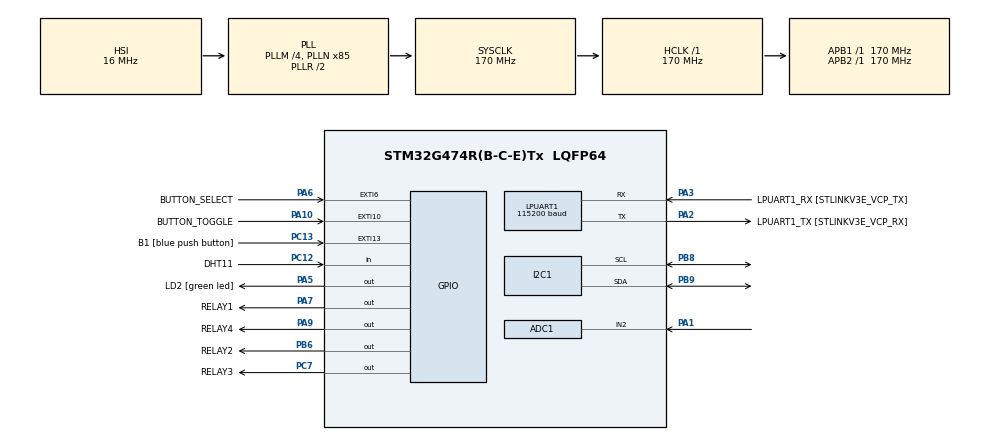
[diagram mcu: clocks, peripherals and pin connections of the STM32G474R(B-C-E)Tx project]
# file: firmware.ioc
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ADC1.Channel-1\#ChannelRegularConversion=ADC_CHANNEL_2
ADC1.NbrOfConversionFlag=1
ADC1.OffsetNumber-1\#ChannelRegularConversion=ADC_OFFSET_NONE
ADC1.Rank-1\#ChannelRegularConversion=1
ADC1.SamplingTime-1\#ChannelRegularConversion=ADC_SAMPLETIME_2CYCLES_5
ADC1.master=1
FREERTOS.Mutexes01=mutexLogData,Static,mutexLogDataControlBlock;mutexFLASH,Static,mutexFLASHControlBlock
FREERTOS.Queues01=queueReturnUART,16,uint8_t,0,Dynamic,NULL,NULL;queueConfigureWateringCommand,5,uint16_t,0,Dynamic,NULL,NULL;queueConfigureWateringControl,5,uint16_t,0,Dynamic,NULL,NULL
FREERTOS.Tasks01=transmitUART,32,256,transmitUARTTask,Default,NULL,Dynamic,NULL,NULL;updateDisplay,8,512,updateDisplayTask,Default,NULL,Dynamic,NULL,NULL;readSensorsRTC,40,128,readSensorsRTCTask,Default,NULL,Dynamic,NULL,NULL;controlWatering,24,256,controlWateringTask,Default,NULL,Dynamic,NULL,NULL;updateLog,24,128,updateLogTask,Default,NULL,Dynamic,NULL,NULL;cfgWatering,8,128,cfgWateringTask,Default,NULL,Dynamic,NULL,NULL
FREERTOS.configENABLE_FPU=1
FREERTOS.configTOTAL_HEAP_SIZE=16384
FREERTOS.configUSE_NEWLIB_REENTRANT=1
I2C1.Timing=0x30A0A7FB
LPUART1.BaudRate=115200
LPUART1.WordLength=UART_WORDLENGTH_8B
Mcu.Family=STM32G4
Mcu.Name=STM32G474R(B-C-E)Tx
Mcu.Package=LQFP64
NVIC.EXTI15_10_IRQn=true\:5\:0\:false\:false\:true\:true\:true\:true\:true
NVIC.EXTI9_5_IRQn=true\:5\:0\:false\:false\:true\:true\:true\:true\:true
NVIC.PriorityGroup=NVIC_PRIORITYGROUP_4
NVIC.TIM6_DAC_IRQn=true\:15\:0\:false\:false\:true\:false\:false\:true\:true
NVIC.TimeBase=TIM6_DAC_IRQn
NVIC.TimeBaseIP=TIM6
PA1.Mode=IN2-Single-Ended
PA1.Signal=ADC1_IN2
PA10.GPIO_Label=BUTTON_TOGGLE
PA10.Signal=GPXTI10
PA13.GPIO_Label=T_SWDIO
PA13.Mode=Serial_Wire
PA13.Signal=SYS_JTMS-SWDIO
PA14.GPIO_Label=T_SWCLK
PA14.Mode=Serial_Wire
PA14.Signal=SYS_JTCK-SWCLK
PA2.GPIO_Label=LPUART1_TX [STLINKV3E_VCP_RX]
PA2.Mode=Asynchronous
PA2.Signal=LPUART1_TX
PA3.GPIO_Label=LPUART1_RX [STLINKV3E_VCP_TX]
PA3.Mode=Asynchronous
PA3.Signal=LPUART1_RX
PA5.GPIO_Label=LD2 [green led]
PA5.Signal=GPIO_Output
PA6.GPIO_Label=BUTTON_SELECT
PA6.Signal=GPXTI6
PA7.GPIO_Label=RELAY1
PA7.Signal=GPIO_Output
PA9.GPIO_Label=RELAY4
PA9.Signal=GPIO_Output
PB3.GPIO_Label=T_SWO
PB3.Signal=SYS_JTDO-SWO
PB6.GPIO_Label=RELAY2
PB6.Signal=GPIO_Output
PB8-BOOT0.Mode=I2C
PB8-BOOT0.Signal=I2C1_SCL
PB9.Mode=I2C
PB9.Signal=I2C1_SDA
PC12.GPIO_Label=DHT11
PC12.Signal=GPIO_Input
PC13.GPIO_Label=B1 [blue push button]
PC13.Signal=GPXTI13
PC14-OSC32_IN.Mode=LSE-External-Oscillator
PC14-OSC32_IN.Signal=RCC_OSC32_IN
PC15-OSC32_OUT.Mode=LSE-External-Oscillator
PC15-OSC32_OUT.Signal=RCC_OSC32_OUT
PC7.GPIO_Label=RELAY3
PC7.Signal=GPIO_Output
PF0-OSC_IN.Mode=HSE-External-Oscillator
PF0-OSC_IN.Signal=RCC_OSC_IN
PF1-OSC_OUT.Mode=HSE-External-Oscillator
PF1-OSC_OUT.Signal=RCC_OSC_OUT
ProjectManager.HeapSize=0x200
ProjectManager.StackSize=0x400
ProjectManager.TargetToolchain=STM32CubeIDE
RCC.ADC12Freq_Value=170000000
RCC.ADC345Freq_Value=170000000
RCC.AHBFreq_Value=170000000
RCC.APB1Freq_Value=170000000
RCC.APB1TimFreq_Value=170000000
RCC.APB2Freq_Value=170000000
RCC.APB2TimFreq_Value=170000000
RCC.CortexFreq_Value=170000000
RCC.EXTERNAL_CLOCK_VALUE=12288000
RCC.HCLKFreq_Value=170000000
RCC.HSE_VALUE=24000000
RCC.HSI48_VALUE=48000000
RCC.HSI_VALUE=16000000
RCC.PLLM=RCC_PLLM_DIV4
RCC.PLLN=85
RCC.RTCClockSelection=RCC_RTCCLKSOURCE_LSE
RCC.SYSCLKFreq_VALUE=170000000
RCC.SYSCLKSource=RCC_SYSCLKSOURCE_PLLCLK
RCC.USBFreq_Value=170000000
RCC.VCOOutputFreq_Value=340000000
RTC.Alarm-Alarm\ A=RTC_ALARM_A
RTC.AlarmMaskSeconds-Alarm\ A=RTC_ALARMMASK_SECONDS
RTC.AlarmMaskSeconds_B-Alarm\ B=RTC_ALARMMASK_SECONDS
RTC.Alarm_B-Alarm\ B=RTC_ALARM_B
RTC.Format=RTC_FORMAT_BIN
TIM7.Prescaler=169
VP_FREERTOS_VS_CMSIS_V2.Mode=CMSIS_V2
VP_RTC_VS_RTC_Activate.Mode=RTC_Enabled
VP_RTC_VS_RTC_Alarm_A_Intern.Mode=Alarm A
VP_RTC_VS_RTC_Alarm_B_Intern.Mode=Alarm B
VP_RTC_VS_RTC_Calendar.Mode=RTC_Calendar
VP_SYS_VS_DBSignals.Mode=DisableDeadBatterySignals
VP_SYS_VS_tim6.Mode=TIM6
VP_TIM7_VS_ClockSourceINT.Mode=Enable_Timer
board=NUCLEO-G474RE

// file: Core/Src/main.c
/* USER CODE BEGIN Header */
/**
  ******************************************************************************
  * @file           : main.c
  * @brief          : Main program body
  ******************************************************************************
  * @attention
  *
  * Copyright (c) 2024 STMicroelectronics.
  * All rights reserved.
  *
  * This software is licensed under terms that can be found in the LICENSE file
  * in the root directory of this software component.
  * If no LICENSE file comes with this software, it is provided AS-IS.
  *
  ******************************************************************************
  */
/* USER CODE END Header */
#include "main.h"
#include "cmsis_os.h"
#include "adc.h"
#include "i2c.h"
#include "usart.h"
#include "rtc.h"
#include "tim.h"
#include "gpio.h"

/* USER CODE BEGIN Includes */
#include "stdio.h"
#include "mk_dht11.h"
#include "ssd1306.h"
#include "ssd1306_fonts.h"
/* USER CODE END Includes */

void SystemClock_Config(void);
void MX_FREERTOS_Init(void);

int main(void)
{

  /* MCU Configuration--------------------------------------------------------*/

  /* Reset of all peripherals, Initializes the Flash interface and the Systick. */
  HAL_Init();

  /* Configure the system clock */
  SystemClock_Config();

  /* Initialize all configured peripherals */
  MX_GPIO_Init();
  MX_LPUART1_UART_Init();
  MX_ADC1_Init();
  MX_I2C1_Init();
  MX_RTC_Init();
  MX_TIM7_Init();
  /* USER CODE BEGIN 2 */
  HAL_GPIO_WritePin(RELAY1_GPIO_Port, RELAY1_Pin, GPIO_PIN_SET);
  HAL_GPIO_WritePin(RELAY2_GPIO_Port, RELAY2_Pin, GPIO_PIN_SET);
  HAL_GPIO_WritePin(RELAY3_GPIO_Port, RELAY3_Pin, GPIO_PIN_SET);
  HAL_GPIO_WritePin(RELAY4_GPIO_Port, RELAY4_Pin, GPIO_PIN_SET);
  /* USER CODE END 2 */

  /* Init scheduler */
  osKernelInitialize();

  /* Call init function for freertos objects (in freertos.c) */
  MX_FREERTOS_Init();

  /* Start scheduler */
  osKernelStart();

  /* We should never get here as control is now taken by the scheduler */
  /* Infinite loop */
  while (1)
  {

  }
}

void SystemClock_Config(void)
{
  RCC_OscInitTypeDef RCC_OscInitStruct = {0};
  RCC_ClkInitTypeDef RCC_ClkInitStruct = {0};

  /** Configure the main internal regulator output voltage
  */
  HAL_PWREx_ControlVoltageScaling(PWR_REGULATOR_VOLTAGE_SCALE1_BOOST);

  /** Configure LSE Drive Capability
  */
  HAL_PWR_EnableBkUpAccess();
  __HAL_RCC_LSEDRIVE_CONFIG(RCC_LSEDRIVE_LOW);

  /** Initializes the RCC Oscillators according to the specified parameters
  * in the RCC_OscInitTypeDef structure.
  */
  RCC_OscInitStruct.OscillatorType = RCC_OSCILLATORTYPE_HSI|RCC_OSCILLATORTYPE_LSE;
  RCC_OscInitStruct.LSEState = RCC_LSE_ON;
  RCC_OscInitStruct.HSIState = RCC_HSI_ON;
  RCC_OscInitStruct.HSICalibrationValue = RCC_HSICALIBRATION_DEFAULT;
  RCC_OscInitStruct.PLL.PLLState = RCC_PLL_ON;
  RCC_OscInitStruct.PLL.PLLSource = RCC_PLLSOURCE_HSI;
  RCC_OscInitStruct.PLL.PLLM = RCC_PLLM_DIV4;
  RCC_OscInitStruct.PLL.PLLN = 85;
  RCC_OscInitStruct.PLL.PLLP = RCC_PLLP_DIV2;
  RCC_OscInitStruct.PLL.PLLQ = RCC_PLLQ_DIV2;
  RCC_OscInitStruct.PLL.PLLR = RCC_PLLR_DIV2;
  if (HAL_RCC_OscConfig(&RCC_OscInitStruct) != HAL_OK)
  {
    Error_Handler();
  }

  /** Initializes the CPU, AHB and APB buses clocks
  */
  RCC_ClkInitStruct.ClockType = RCC_CLOCKTYPE_HCLK|RCC_CLOCKTYPE_SYSCLK
                              |RCC_CLOCKTYPE_PCLK1|RCC_CLOCKTYPE_PCLK2;
  RCC_ClkInitStruct.SYSCLKSource = RCC_SYSCLKSOURCE_PLLCLK;
  RCC_ClkInitStruct.AHBCLKDivider = RCC_SYSCLK_DIV1;
  RCC_ClkInitStruct.APB1CLKDivider = RCC_HCLK_DIV1;
  RCC_ClkInitStruct.APB2CLKDivider = RCC_HCLK_DIV1;

  if (HAL_RCC_ClockConfig(&RCC_ClkInitStruct, FLASH_LATENCY_4) != HAL_OK)
  {
    Error_Handler();
  }
}

void HAL_TIM_PeriodElapsedCallback(TIM_HandleTypeDef *htim)
{
  if (htim->Instance == TIM6) {
    HAL_IncTick();
  }
}

void Error_Handler(void)
{
  __disable_irq();
  while (1)
  {
  }
}

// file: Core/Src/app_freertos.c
/* USER CODE BEGIN Header */
/**
  ******************************************************************************
  * File Name          : app_freertos.c
  * Description        : Code for freertos applications
  ******************************************************************************
  * @attention
  *
  * Copyright (c) 2024 STMicroelectronics.
  * All rights reserved.
  *
  * This software is licensed under terms that can be found in the LICENSE file
  * in the root directory of this software component.
  * If no LICENSE file comes with this software, it is provided AS-IS.
  *
  ******************************************************************************
  */
/* USER CODE END Header */

#include "FreeRTOS.h"
#include "task.h"
#include "main.h"
#include "cmsis_os.h"

/* USER CODE BEGIN Includes */
#include "adc.h"
#include "mk_dht11.h"
#include "rtc.h"
#include "ssd1306.h"
#include "ssd1306_fonts.h"
#include "stdio.h"
#include "tim.h"
/* USER CODE END Includes */

typedef StaticSemaphore_t osStaticMutexDef_t;

/* USER CODE BEGIN Variables */
dht11_t dht11;
xLogData_t xLogData;

GPIO_TypeDef *xRelayPorts[5] =
  {LD2_GPIO_Port, RELAY1_GPIO_Port, RELAY2_GPIO_Port, RELAY3_GPIO_Port, RELAY4_GPIO_Port};
uint16_t uiRelayPins[5] = {LD2_Pin, RELAY1_Pin, RELAY2_Pin, RELAY3_Pin, RELAY4_Pin};

/* USER CODE END Variables */
/* Definitions for transmitUART */
osThreadId_t transmitUARTHandle;
const osThreadAttr_t transmitUART_attributes = {
  .name = "transmitUART",
  .priority = (osPriority_t) osPriorityAboveNormal,
  .stack_size = 256 * 4
};
/* Definitions for updateDisplay */
osThreadId_t updateDisplayHandle;
const osThreadAttr_t updateDisplay_attributes = {
  .name = "updateDisplay",
  .priority = (osPriority_t) osPriorityLow,
  .stack_size = 512 * 4
};
/* Definitions for readSensorsRTC */
osThreadId_t readSensorsRTCHandle;
const osThreadAttr_t readSensorsRTC_attributes = {
  .name = "readSensorsRTC",
  .priority = (osPriority_t) osPriorityHigh,
  .stack_size = 128 * 4
};
/* Definitions for controlWatering */
osThreadId_t controlWateringHandle;
const osThreadAttr_t controlWatering_attributes = {
  .name = "controlWatering",
  .priority = (osPriority_t) osPriorityNormal,
  .stack_size = 256 * 4
};
/* Definitions for updateLog */
osThreadId_t updateLogHandle;
const osThreadAttr_t updateLog_attributes = {
  .name = "updateLog",
  .priority = (osPriority_t) osPriorityNormal,
  .stack_size = 128 * 4
};
/* Definitions for cfgWatering */
osThreadId_t cfgWateringHandle;
const osThreadAttr_t cfgWatering_attributes = {
  .name = "cfgWatering",
  .priority = (osPriority_t) osPriorityLow,
  .stack_size = 128 * 4
};
/* Definitions for queueReturnUART */
osMessageQueueId_t queueReturnUARTHandle;
const osMessageQueueAttr_t queueReturnUART_attributes = {
  .name = "queueReturnUART"
};
/* Definitions for queueConfigureWateringCommand */
osMessageQueueId_t queueConfigureWateringCommandHandle;
const osMessageQueueAttr_t queueConfigureWateringCommand_attributes = {
  .name = "queueConfigureWateringCommand"
};
/* Definitions for queueConfigureWateringControl */
osMessageQueueId_t queueConfigureWateringControlHandle;
const osMessageQueueAttr_t queueConfigureWateringControl_attributes = {
  .name = "queueConfigureWateringControl"
};
/* Definitions for mutexLogData */
osMutexId_t mutexLogDataHandle;
osStaticMutexDef_t mutexLogDataControlBlock;
const osMutexAttr_t mutexLogData_attributes = {
  .name = "mutexLogData",
  .cb_mem = &mutexLogDataControlBlock,
  .cb_size = sizeof(mutexLogDataControlBlock),
};
/* Definitions for mutexFLASH */
osMutexId_t mutexFLASHHandle;
osStaticMutexDef_t mutexFLASHControlBlock;
const osMutexAttr_t mutexFLASH_attributes = {
  .name = "mutexFLASH",
  .cb_mem = &mutexFLASHControlBlock,
  .cb_size = sizeof(mutexFLASHControlBlock),
};

/* USER CODE BEGIN FunctionPrototypes */
void ssd1306_WriteTemp(uint8_t temp, uint8_t x, uint8_t y, SSD1306_COLOR color);
/* USER CODE END FunctionPrototypes */

void transmitUARTTask(void *argument);
void updateDisplayTask(void *argument);
void readSensorsRTCTask(void *argument);
void controlWateringTask(void *argument);
void updateLogTask(void *argument);
void cfgWateringTask(void *argument);

void MX_FREERTOS_Init(void); /* (MISRA C 2004 rule 8.1) */

void MX_FREERTOS_Init(void) {
  /* Create the mutex(es) */
  /* creation of mutexLogData */
  mutexLogDataHandle = osMutexNew(&mutexLogData_attributes);

  /* creation of mutexFLASH */
  mutexFLASHHandle = osMutexNew(&mutexFLASH_attributes);

  /* Create the queue(s) */
  /* creation of queueReturnUART */
  queueReturnUARTHandle = osMessageQueueNew (16, sizeof(uint8_t), &queueReturnUART_attributes);

  /* creation of queueConfigureWateringCommand */
  queueConfigureWateringCommandHandle = osMessageQueueNew (5, sizeof(uint16_t), &queueConfigureWateringCommand_attributes);

  /* creation of queueConfigureWateringControl */
  queueConfigureWateringControlHandle = osMessageQueueNew (5, sizeof(uint16_t), &queueConfigureWateringControl_attributes);

  /* Create the thread(s) */
  /* creation of transmitUART */
  transmitUARTHandle = osThreadNew(transmitUARTTask, NULL, &transmitUART_attributes);

  /* creation of updateDisplay */
  updateDisplayHandle = osThreadNew(updateDisplayTask, NULL, &updateDisplay_attributes);

  /* creation of readSensorsRTC */
  readSensorsRTCHandle = osThreadNew(readSensorsRTCTask, NULL, &readSensorsRTC_attributes);

  /* creation of controlWatering */
  controlWateringHandle = osThreadNew(controlWateringTask, NULL, &controlWatering_attributes);

  /* creation of updateLog */
  updateLogHandle = osThreadNew(updateLogTask, NULL, &updateLog_attributes);

  /* creation of cfgWatering */
  cfgWateringHandle = osThreadNew(cfgWateringTask, NULL, &cfgWatering_attributes);

}

void transmitUARTTask(void *argument)
{
  for(;;)
  {
    osDelay(1);
  }
}

void updateDisplayTask(void *argument)
{
  /* USER CODE BEGIN updateDisplayTask */
  char cDate[9], cTime[9], cHum[4], cSoil[4][4];
  uint8_t uiRelaySelected, uiRelayStatus;

  ssd1306_Init();
  ssd1306_FillRectangle(0, 0, 127, 15, White);

  ssd1306_SetCursor(0, 16);
  ssd1306_WriteString("CH1", Font_7x10, White);
  ssd1306_SetCursor(0, 27);
  ssd1306_WriteString("68%", Font_7x10, White);
  ssd1306_DrawRectangle( 23, 16, 34, 36, White);

  ssd1306_SetCursor(38, 16);
  ssd1306_WriteString("CH2", Font_7x10, White);
  ssd1306_SetCursor(38, 27);
  ssd1306_WriteString("52%", Font_7x10, White);
  ssd1306_DrawRectangle( 61, 16, 72, 36, White);

  ssd1306_SetCursor(0, 41);
  ssd1306_WriteString("CH3", Font_7x10, White);
  ssd1306_SetCursor(0, 52);
  ssd1306_WriteString("00%", Font_7x10, White);
  ssd1306_DrawRectangle( 23, 41, 34, 61, White);

  ssd1306_SetCursor(38, 41);
  ssd1306_WriteString("CH4", Font_7x10, White);
  ssd1306_SetCursor(38, 52);
  ssd1306_WriteString("99%", Font_7x10, White);
  ssd1306_DrawRectangle( 61, 41, 72, 61, White);

  ssd1306_SetCursor(74, 16);
  ssd1306_WriteString(" Ambient ", Font_6x8, Black);

  ssd1306_UpdateScreen();
  /* Infinite loop */
  for(;;)
  {
    osDelay(1000);
    if(osMutexAcquire(mutexLogDataHandle, osWaitForever) == osOK)
    {
    	sprintf(cDate, "%02d/%02d/%02d", xLogData.s.day, xLogData.s.month, xLogData.s.year);
    	sprintf(cTime, "%02d:%02d:%02d", xLogData.s.hour, xLogData.s.minute, xLogData.s.second);

    	sprintf(cHum, "%d%%", xLogData.s.ambHumidity);
    	ssd1306_WriteTemp(xLogData.s.ambTemperature, 84, 46, White);

    	sprintf(cSoil[0], "%d%%", xLogData.s.soilHumidity[0]);
    	sprintf(cSoil[1], "%d%%", xLogData.s.soilHumidity[1]);
    	sprintf(cSoil[2], "%d%%", xLogData.s.soilHumidity[2]);
    	sprintf(cSoil[3], "%d%%", xLogData.s.soilHumidity[3]);

    	uiRelaySelected = xLogData.s.relaySelected;
    	uiRelayStatus = xLogData.s.relayStatus;

    	osMutexRelease(mutexLogDataHandle);

    	ssd1306_SetCursor(2, 3);
    	ssd1306_WriteString(cDate, Font_7x10, Black);

    	ssd1306_SetCursor(70, 3);
    	ssd1306_WriteString(cTime, Font_7x10, Black);

    	ssd1306_SetCursor(84, 28);
    	ssd1306_WriteString(cHum, Font_11x18, White);

    	ssd1306_FillRectangle( 24, 17, 33, 35, 0x01 &  uiRelayStatus);
    	ssd1306_FillRectangle( 62, 17, 71, 35, 0x01 & (uiRelayStatus >> 1));
    	ssd1306_FillRectangle( 24, 42, 33, 60, 0x01 & (uiRelayStatus >> 2));
    	ssd1306_FillRectangle( 62, 42, 71, 60, 0x01 & (uiRelayStatus >> 3));

    	switch(uiRelaySelected)
		{
    		case 0x01:
			  ssd1306_Line(0, 38, 34, 38, White);
			  ssd1306_Line(38, 38, 72, 38, Black);
			  ssd1306_Line(0, 63, 34, 63, Black);
			  ssd1306_Line(38, 63, 72, 63, Black);

			  break;
    		case 0x02:
			  ssd1306_Line(0, 38, 34, 38, Black);
			  ssd1306_Line(38, 38, 72, 38, White);
			  ssd1306_Line(0, 63, 34, 63, Black);
			  ssd1306_Line(38, 63, 72, 63, Black);
			  break;
    		case 0x03:
			  ssd1306_Line(0, 38, 34, 38, Black);
			  ssd1306_Line(38, 38, 72, 38, Black);
			  ssd1306_Line(0, 63, 34, 63, White);
			  ssd1306_Line(38, 63, 72, 63, Black);
			  break;
    		case 0x04:
			  ssd1306_Line(0, 38, 34, 38, Black);
			  ssd1306_Line(38, 38, 72, 38, Black);
			  ssd1306_Line(0, 63, 34, 63, Black);
			  ssd1306_Line(38, 63, 72, 63, White);
			  break;
    		default:
			  ssd1306_Line(0, 38, 34, 38, Black);
			  ssd1306_Line(38, 38, 72, 38, Black);
			  ssd1306_Line(0, 63, 34, 63, Black);
			  ssd1306_Line(38, 63, 72, 63, Black);
			  break;
		}

    	/*ssd1306_SetCursor(0, 27);
	    ssd1306_WriteString(cSoil[0], Font_7x10, White);

  	    ssd1306_SetCursor(38, 27);
	    ssd1306_WriteString(cSoil[1], Font_7x10, White);

	    ssd1306_SetCursor(0, 52);
	    ssd1306_WriteString(cSoil[2], Font_7x10, White);

	    ssd1306_SetCursor(38, 52);
	    ssd1306_WriteString(cSoil[3], Font_7x10, White);*/

    	ssd1306_UpdateScreen();
    }

  }
  /* USER CODE END updateDisplayTask */
}

void readSensorsRTCTask(void *argument)
{
  /* USER CODE BEGIN readSensorsRTCTask */

  RTC_DateTypeDef rtc_date;
  RTC_TimeTypeDef rtc_time;

  float soilHumidity[4];

  // Initialize ADCs
  HAL_ADC_Start(&hadc1);
  /*HAL_ADC_Start(&hadc2);
  HAL_ADC_Start(&hadc3);
  HAL_ADC_Start(&hadc4);*/

  // Initialize DHT11
  init_dht11(&dht11, &htim7, DHT11_GPIO_Port, DHT11_Pin);

  // Initialize RTC
  rtc_date = (RTC_DateTypeDef){.WeekDay = 3, .Date = 12, .Month = 11, .Year = 24};
  rtc_time = (RTC_TimeTypeDef){.Hours = 23, .Minutes = 47, .Seconds= 0};

  HAL_RTC_SetDate(&hrtc, &rtc_date, RTC_FORMAT_BIN);
  HAL_RTC_SetTime(&hrtc, &rtc_time, RTC_FORMAT_BIN);

  /* Infinite loop */
  for(;;)
  {
    osDelay(1000);

	HAL_RTC_GetTime(&hrtc, &rtc_time, RTC_FORMAT_BIN);
    HAL_RTC_GetDate(&hrtc, &rtc_date, RTC_FORMAT_BIN);

    //HAL_ADC_PollForConversion(&hadc1, HAL_MAX_DELAY);
    /*HAL_ADC_PollForConversion(&hadc2, HAL_MAX_DELAY);
    HAL_ADC_PollForConversion(&hadc3, HAL_MAX_DELAY);
    HAL_ADC_PollForConversion(&hadc4, HAL_MAX_DELAY);*/

    soilHumidity[0] = (float) HAL_ADC_GetValue(&hadc1) * 100.0/4096.0;
    /*soilHumidity[1] = (float) HAL_ADC_GetValue(&hadc2) * 100.0/4096.0;
    soilHumidity[2] = (float) HAL_ADC_GetValue(&hadc3) * 100.0/4096.0;
    soilHumidity[3] = (float) HAL_ADC_GetValue(&hadc4) * 100.0/4096.0;*/

    readDHT11(&dht11);

    if(osMutexAcquire(mutexLogDataHandle, 100) == osOK)
    {
    	xLogData.s.year= rtc_date.Year;
    	xLogData.s.month = rtc_date.Month;
    	xLogData.s.day = rtc_date.Date;
    	xLogData.s.hour = rtc_time.Hours;
    	xLogData.s.minute = rtc_time.Minutes;
    	xLogData.s.second = rtc_time.Seconds;

    	xLogData.s.ambHumidity = dht11.humidty;
    	xLogData.s.ambTemperature = dht11.temperature;

    	xLogData.s.soilHumidity[0] = soilHumidity[0];
    	xLogData.s.soilHumidity[1] = soilHumidity[1];
    	xLogData.s.soilHumidity[2] = soilHumidity[2];
    	xLogData.s.soilHumidity[3] = soilHumidity[3];

    	osMutexRelease(mutexLogDataHandle);
    }
  }
  /* USER CODE END readSensorsRTCTask */
}

void controlWateringTask(void *argument)
{
  /* USER CODE BEGIN controlWateringTask */
  /* Infinite loop */
  for(;;)
  {
    osDelay(10);
    osThreadFlagsWait(0x0001, osFlagsWaitAll, osWaitForever);
	osMutexAcquire(mutexLogDataHandle, 500);
	if(xLogData.s.relaySelected > 0)
	{
		xLogData.s.relayStatus ^= (0x01 << (xLogData.s.relaySelected-1));
		HAL_GPIO_TogglePin(xRelayPorts[xLogData.s.relaySelected],
				           uiRelayPins[xLogData.s.relaySelected]);
	}
	osMutexRelease(mutexLogDataHandle);

  }
  /* USER CODE END controlWateringTask */
}

void updateLogTask(void *argument)
{
  for(;;)
  {
    osDelay(1);
  }
}

void cfgWateringTask(void *argument)
{
  for(;;)
  {
    osDelay(1);
  }
}

/* USER CODE BEGIN Application */
void ssd1306_WriteTemp(uint8_t temp, uint8_t x, uint8_t y, SSD1306_COLOR color)
{
	char cTemp[3];

	sprintf(cTemp, "%d", temp);
	ssd1306_SetCursor(x, y);
	ssd1306_WriteString(cTemp, Font_11x18, color);
	ssd1306_SetCursor(x+2*11+1, y);
	ssd1306_WriteString("o", Font_7x10, color);
	ssd1306_SetCursor(x+3*11-3, y);
	ssd1306_WriteString("C", Font_11x18, color);
}

void HAL_GPIO_EXTI_Callback(uint16_t GPIO_Pin)
{
	switch (GPIO_Pin)
	{
		case BUTTON_SELECT_Pin:
			osMutexAcquire(mutexLogDataHandle, 500);
			if(xLogData.s.relaySelected++ == 4)
			{
				xLogData.s.relaySelected = 0;
			}
			osMutexRelease(mutexLogDataHandle);
			HAL_GPIO_TogglePin(LD2_GPIO_Port, LD2_Pin);
			break;

		case BUTTON_TOGGLE_Pin:
			osThreadFlagsSet(controlWateringHandle, 0x0001);
			break;
		default:
			break;
	}
}
/* USER CODE END Application */
